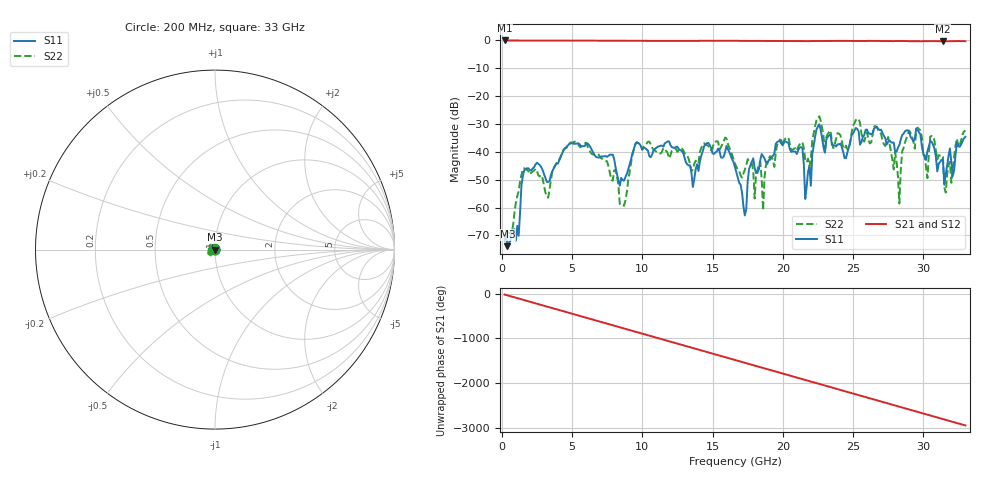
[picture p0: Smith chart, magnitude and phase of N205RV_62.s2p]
# GHZ S RI R 50
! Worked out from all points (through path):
!   329 points, 200 MHz to 33 GHz, reference 50 ohm
!   highest |S21| = -0.02 dB at 200 MHz (marker M1); lowest = -0.3 dB at 31.4 GHz (marker M2)
!   group delay of S21, straight-line fit = 248 ps
!   lowest |S11| = -73.9 dB at 400 MHz (marker M3), VSWR 1.00, Z = 50 + j0.0103 ohm
!   |S11| at or under -10 dB: start of sweep to end of sweep
!   |S22| runs from -72.1 to -27.2 dB; largest |S21 - S12| = 0.0019
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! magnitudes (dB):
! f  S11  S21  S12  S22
! 200 MHz  -70.8  0.0  0.0  -72.1
! 400 MHz  -73.9  0.0  0.0  -68.6
! 1.2 GHz  -70.1  -0.1  -0.1  -54.1
! 1.6 GHz  -46.6  -0.1  -0.1  -45.9
! 5.7 GHz  -38.0  -0.1  -0.1  -38.0
! 8.7 GHz  -50.4  -0.1  -0.1  -59.3
! 9.5 GHz  -37.4  -0.2  -0.2  -37.2
! 11.2 GHz  -38.0  -0.2  -0.2  -40.6
! 16.6 GHz  -45.5  -0.1  -0.1  -44.3
! 17.3 GHz  -62.8  -0.2  -0.2  -46.4
! 18.4 GHz  -43.0  -0.2  -0.2  -43.6
! 18.6 GHz  -41.6  -0.2  -0.2  -61.0
! 19.8 GHz  -36.1  -0.2  -0.2  -35.6
! 21.4 GHz  -38.7  -0.3  -0.2  -36.5
! 21.6 GHz  -56.9  -0.2  -0.2  -43.0
! 22.1 GHz  -41.0  -0.2  -0.2  -36.0
! 27.6 GHz  -35.9  -0.2  -0.2  -37.2
! 28.3 GHz  -37.5  -0.2  -0.2  -58.5
! 29 GHz  -32.9  -0.3  -0.3  -32.4
! 31.4 GHz  -42.8  -0.3  -0.3  -41.7
! 31.6 GHz  -48.0  -0.3  -0.3  -54.6
! 33 GHz  -34.6  -0.3  -0.3  -32.3
